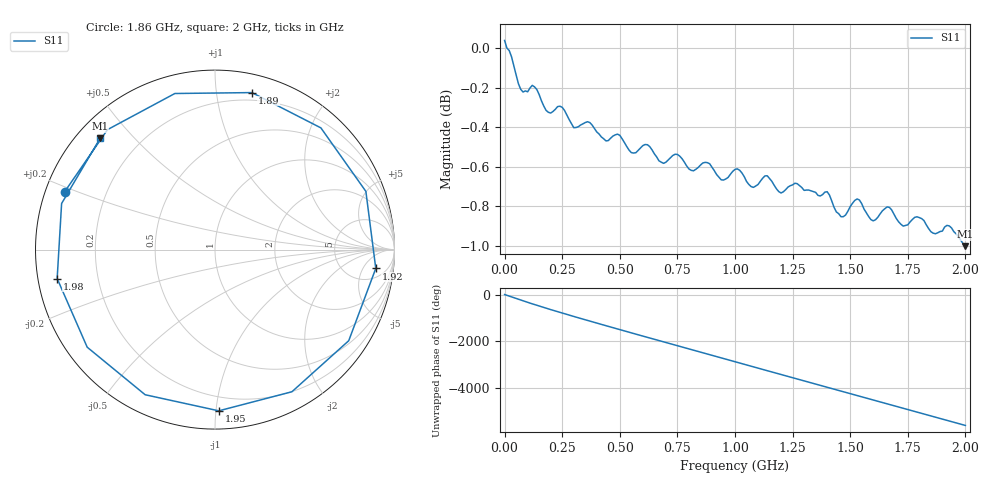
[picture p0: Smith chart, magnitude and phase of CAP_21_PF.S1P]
!Agilent Technologies,E5071C,MY46520295,B.13.20
!Date: Fri Feb 09 07:02:59 2024
!Data & Calibration Information:
!Freq	S11:NONE(--)
!PortZ  Port1:50+j0
!Above PortZ is port z conversion or system Z0 setting when saving the data.
!When reading, reference impedance value at option line is always used.
# Hz S RI R 50
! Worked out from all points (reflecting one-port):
!   201 points, 300 kHz to 2 GHz, reference 50 ohm
!   lowest |S11| = -1.0 dB at 2 GHz (marker M1), VSWR 17.35, Z = 3.35 + j20.1 ohm
!   phase of S11 starts at -1 deg and turns -5623 deg over the sweep
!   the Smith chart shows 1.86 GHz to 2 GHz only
!   S11 on the Smith chart (normalised r, x): 1.86 GHz: 0.06, +0.18; 1.89 GHz: 0.14, +1.25; 1.92 GHz: 9, -10; 1.95 GHz: 0.11, -1.02; 1.98 GHz: 0.06, -0.09; 2 GHz: 0.07, +0.40
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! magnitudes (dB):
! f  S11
! 300 kHz  0.0
! 70.28 MHz  -0.2
! 130.3 MHz  -0.2
! 190.2 MHz  -0.3
! 250.2 MHz  -0.3
! 300.2 MHz  -0.4
! 500.1 MHz  -0.4
! 690.1 MHz  -0.6
! 750.1 MHz  -0.5
! 940 MHz  -0.7
! 1 GHz  -0.6
! 1.08 GHz  -0.7
! 1.13 GHz  -0.6
! 1.25 GHz  -0.7
! 1.4 GHz  -0.7
! 1.46 GHz  -0.9
! 1.5 GHz  -0.8
! 1.54 GHz  -0.8
! 1.6 GHz  -0.9
! 1.67 GHz  -0.8
! 1.75 GHz  -0.9
! 1.79 GHz  -0.9
! 1.86 GHz  -0.9
! 1.89 GHz  -0.9
! 1.92 GHz  -0.9
! 1.95 GHz  -0.9
! 1.98 GHz  -1.0
! 2 GHz  -1.0
